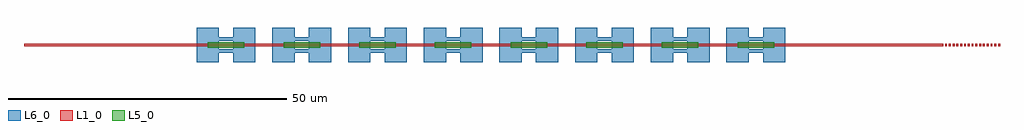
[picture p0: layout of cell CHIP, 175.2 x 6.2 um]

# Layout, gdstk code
import gdstk
lib = gdstk.Library(unit=1e-6, precision=1e-09)
def R(c, l, rs):  # rectangles x0, y0, x1, y1
    for r in rs: c.add(gdstk.rectangle(r[:2], r[2:], *l))
def A(c, l, x, y, w, h, nx, ny, dx, dy):  # array of equal rectangles
    R(c, l, [(x+i*dx, y+j*dy, x+i*dx+w, y+j*dy+h) for i in range(nx) for j in range(ny)])
L1_0 = (1, 0)
L5_0 = (5, 0)
L6_0 = (6, 0)

chip = lib.new_cell('CHIP')
A(chip, L1_0, -30, -0.25, 0.34, 0.5, 16, 1, 0.68, 0)
A(chip, L1_0, 131.66, -0.25, 0.34, 0.5, 16, 1, 0.68, 0)
R(chip, L5_0, [(0,-0.45,6.556,0.45), (13.586,-0.45,20.142,0.45), (27.173,-0.45,33.728,0.45), (40.759,-0.45,47.315,0.45), (54.345,-0.45,60.901,0.45), (67.932,-0.45,74.487,0.45), (81.518,-0.45,88.074,0.45), (95.104,-0.45,101.66,0.45)])
R(chip, L6_0, [(-2,-3.1,2,0.9), (4.556,-3.1,8.556,0.9), (11.586,-3.1,15.586,0.9), (18.142,-3.1,22.142,0.9), (25.173,-3.1,29.173,0.9), (31.728,-3.1,35.728,0.9), (38.759,-3.1,42.759,0.9), (45.315,-3.1,49.315,0.9), (52.345,-3.1,56.345,0.9), (58.901,-3.1,62.901,0.9), (65.932,-3.1,69.932,0.9), (72.487,-3.1,76.487,0.9), (79.518,-3.1,83.518,0.9), (86.074,-3.1,90.074,0.9), (93.104,-3.1,97.104,0.9), (99.66,-3.1,103.66,0.9), (-2,-0.9,2,3.1), (4.556,-0.9,8.556,3.1), (11.586,-0.9,15.586,3.1), (18.142,-0.9,22.142,3.1), (25.173,-0.9,29.173,3.1), (31.728,-0.9,35.728,3.1), (38.759,-0.9,42.759,3.1), (45.315,-0.9,49.315,3.1), (52.345,-0.9,56.345,3.1), (58.901,-0.9,62.901,3.1), (65.932,-0.9,69.932,3.1), (72.487,-0.9,76.487,3.1), (79.518,-0.9,83.518,3.1), (86.074,-0.9,90.074,3.1), (93.104,-0.9,97.104,3.1), (99.66,-0.9,103.66,3.1)])
chip.add(gdstk.FlexPath([(-30,0),(-10,0)], 0.5, ends="flush", simple_path=True, layer=1, datatype=0))  # L1_0
chip.add(gdstk.FlexPath([(0,0),(6.556,0)], 0.5, ends="flush", simple_path=True, layer=1, datatype=0))  # L1_0
chip.add(gdstk.FlexPath([(0,1.1),(6.556,1.1)], 0.6, ends="flush", simple_path=True, layer=6, datatype=0))  # L6_0
chip.add(gdstk.FlexPath([(0,-1.1),(6.556,-1.1)], 0.6, ends="flush", simple_path=True, layer=6, datatype=0))  # L6_0
chip.add(gdstk.FlexPath([(13.586,0),(20.142,0)], 0.5, ends="flush", simple_path=True, layer=1, datatype=0))  # L1_0
chip.add(gdstk.FlexPath([(13.586,1.1),(20.142,1.1)], 0.6, ends="flush", simple_path=True, layer=6, datatype=0))  # L6_0
chip.add(gdstk.FlexPath([(13.586,-1.1),(20.142,-1.1)], 0.6, ends="flush", simple_path=True, layer=6, datatype=0))  # L6_0
chip.add(gdstk.FlexPath([(27.173,0),(33.728,0)], 0.5, ends="flush", simple_path=True, layer=1, datatype=0))  # L1_0
chip.add(gdstk.FlexPath([(27.173,1.1),(33.728,1.1)], 0.6, ends="flush", simple_path=True, layer=6, datatype=0))  # L6_0
chip.add(gdstk.FlexPath([(27.173,-1.1),(33.728,-1.1)], 0.6, ends="flush", simple_path=True, layer=6, datatype=0))  # L6_0
chip.add(gdstk.FlexPath([(40.759,0),(47.315,0)], 0.5, ends="flush", simple_path=True, layer=1, datatype=0))  # L1_0
chip.add(gdstk.FlexPath([(40.759,1.1),(47.315,1.1)], 0.6, ends="flush", simple_path=True, layer=6, datatype=0))  # L6_0
chip.add(gdstk.FlexPath([(40.759,-1.1),(47.315,-1.1)], 0.6, ends="flush", simple_path=True, layer=6, datatype=0))  # L6_0
chip.add(gdstk.FlexPath([(54.345,0),(60.901,0)], 0.5, ends="flush", simple_path=True, layer=1, datatype=0))  # L1_0
chip.add(gdstk.FlexPath([(54.345,1.1),(60.901,1.1)], 0.6, ends="flush", simple_path=True, layer=6, datatype=0))  # L6_0
chip.add(gdstk.FlexPath([(54.345,-1.1),(60.901,-1.1)], 0.6, ends="flush", simple_path=True, layer=6, datatype=0))  # L6_0
chip.add(gdstk.FlexPath([(67.932,0),(74.487,0)], 0.5, ends="flush", simple_path=True, layer=1, datatype=0))  # L1_0
chip.add(gdstk.FlexPath([(67.932,1.1),(74.487,1.1)], 0.6, ends="flush", simple_path=True, layer=6, datatype=0))  # L6_0
chip.add(gdstk.FlexPath([(67.932,-1.1),(74.487,-1.1)], 0.6, ends="flush", simple_path=True, layer=6, datatype=0))  # L6_0
chip.add(gdstk.FlexPath([(81.518,0),(88.074,0)], 0.5, ends="flush", simple_path=True, layer=1, datatype=0))  # L1_0
chip.add(gdstk.FlexPath([(81.518,1.1),(88.074,1.1)], 0.6, ends="flush", simple_path=True, layer=6, datatype=0))  # L6_0
chip.add(gdstk.FlexPath([(81.518,-1.1),(88.074,-1.1)], 0.6, ends="flush", simple_path=True, layer=6, datatype=0))  # L6_0
chip.add(gdstk.FlexPath([(95.104,0),(101.66,0)], 0.5, ends="flush", simple_path=True, layer=1, datatype=0))  # L1_0
chip.add(gdstk.FlexPath([(95.104,1.1),(101.66,1.1)], 0.6, ends="flush", simple_path=True, layer=6, datatype=0))  # L6_0
chip.add(gdstk.FlexPath([(95.104,-1.1),(101.66,-1.1)], 0.6, ends="flush", simple_path=True, layer=6, datatype=0))  # L6_0
chip.add(gdstk.FlexPath([(111.66,0),(131.66,0)], 0.5, ends="flush", simple_path=True, layer=1, datatype=0))  # L1_0
chip.add(gdstk.FlexPath([(-10,0),(0,0)], 0.5, ends="flush", simple_path=True, layer=1, datatype=0))  # L1_0
chip.add(gdstk.FlexPath([(6.556,0),(13.586,0)], 0.5, ends="flush", simple_path=True, layer=1, datatype=0))  # L1_0
chip.add(gdstk.FlexPath([(20.142,0),(27.173,0)], 0.5, ends="flush", simple_path=True, layer=1, datatype=0))  # L1_0
chip.add(gdstk.FlexPath([(33.728,0),(40.759,0)], 0.5, ends="flush", simple_path=True, layer=1, datatype=0))  # L1_0
chip.add(gdstk.FlexPath([(47.315,0),(54.345,0)], 0.5, ends="flush", simple_path=True, layer=1, datatype=0))  # L1_0
chip.add(gdstk.FlexPath([(60.901,0),(67.932,0)], 0.5, ends="flush", simple_path=True, layer=1, datatype=0))  # L1_0
chip.add(gdstk.FlexPath([(74.487,0),(81.518,0)], 0.5, ends="flush", simple_path=True, layer=1, datatype=0))  # L1_0
chip.add(gdstk.FlexPath([(88.074,0),(95.104,0)], 0.5, ends="flush", simple_path=True, layer=1, datatype=0))  # L1_0
chip.add(gdstk.FlexPath([(101.66,0),(111.66,0)], 0.5, ends="flush", simple_path=True, layer=1, datatype=0))  # L1_0
chip.add(gdstk.FlexPath([(-33,0),(-30,0)], 0.5, ends="flush", simple_path=True, layer=1, datatype=0))  # L1_0
chip.add(gdstk.FlexPath([(128.66,0),(131.66,0)], 0.5, ends="flush", simple_path=True, layer=1, datatype=0))  # L1_0

lib.write_gds('CHIP.gds')
